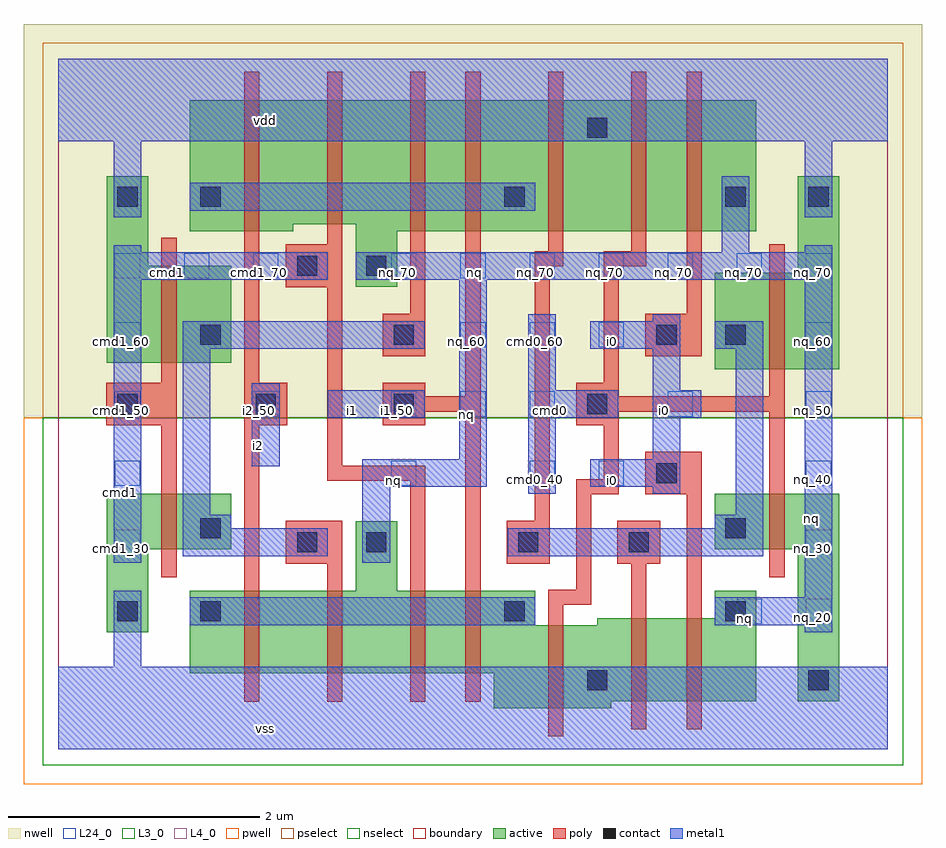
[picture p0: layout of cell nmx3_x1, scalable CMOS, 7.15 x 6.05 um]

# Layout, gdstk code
import gdstk
lib = gdstk.Library(unit=1e-6, precision=2.5e-09)
def R(c, l, rs):  # rectangles x0, y0, x1, y1
    for r in rs: c.add(gdstk.rectangle(r[:2], r[2:], *l))
def A(c, l, x, y, w, h, nx, ny, dx, dy):  # array of equal rectangles
    R(c, l, [(x+i*dx, y+j*dy, x+i*dx+w, y+j*dy+h) for i in range(nx) for j in range(ny)])
L3_0 = (3, 0)
L4_0 = (4, 0)
L24_0 = (24, 0)
contact = (25, 0)
pwell = (41, 0)
nwell = (42, 0)
active = (43, 0)
pselect = (44, 0)
nselect = (45, 0)
poly = (46, 0)
metal1 = (49, 0)
boundary = (63, 0)

nmx3_x1 = lib.new_cell('nmx3_x1')
R(nmx3_x1, L3_0, [(3.465,0.33,4.4,0.385), (3.465,0.385,5.555,0.605), (5.885,0.385,6.215,1.595), (1.045,0.605,5.555,0.99), (0.385,0.935,0.715,1.595), (1.045,0.99,3.795,1.265), (4.29,0.99,5.555,1.045), (5.225,1.045,5.555,1.265), (2.365,1.265,2.695,1.815), (0.385,1.595,1.375,2.035), (5.225,1.595,6.215,2.035)])
R(nmx3_x1, L4_0, [(5.225,3.025,6.215,3.795), (0.385,3.08,1.375,3.85), (2.365,3.685,2.695,4.125), (5.885,3.795,6.215,4.565), (0.385,3.85,0.715,4.565), (1.045,4.125,1.87,4.18), (2.365,4.125,5.555,4.18), (1.045,4.18,5.555,5.17)])
A(nmx3_x1, L24_0, 5.95, 1, 0.2, 0.2, 1, 3, 0, 0.55)
A(nmx3_x1, L24_0, 0.45, 2.65, 0.2, 0.2, 3, 1, 1.1, 0)
A(nmx3_x1, L24_0, 3.75, 2.65, 0.2, 0.2, 3, 1, 1.1, 0)
A(nmx3_x1, L24_0, 3.2, 3.2, 0.2, 0.2, 3, 1, 0.55, 0)
A(nmx3_x1, L24_0, 0.45, 3.75, 0.2, 0.2, 3, 1, 0.55, 0)
A(nmx3_x1, L24_0, 2.65, 3.75, 0.2, 0.2, 7, 1, 0.55, 0)
R(nmx3_x1, L24_0, [(5.4,1,5.6,1.2), (0.45,1.55,0.65,1.75), (0.45,2.1,0.65,2.3), (2.65,2.1,2.85,2.3), (3.75,2.1,3.95,2.3), (4.3,2.1,4.5,2.3), (3.2,2.65,3.4,2.85), (0.45,3.2,0.65,3.4), (5.95,3.2,6.15,3.4)])
A(nmx3_x1, contact, 4.21, 0.47, 0.16, 0.16, 1, 3, 0, 2.2)
A(nmx3_x1, contact, 0.47, 2.67, 0.16, 0.16, 3, 1, 1.1, 0)
R(nmx3_x1, contact, [(5.97,0.47,6.13,0.63), (0.47,1.02,0.63,1.18), (1.13,1.02,1.29,1.18), (3.55,1.02,3.71,1.18), (5.31,1.02,5.47,1.18), (1.9,1.57,2.06,1.73), (2.45,1.57,2.61,1.73), (3.66,1.57,3.82,1.73), (4.54,1.57,4.7,1.73), (1.13,1.68,1.29,1.84), (5.31,1.68,5.47,1.84), (4.76,2.12,4.92,2.28), (1.13,3.22,1.29,3.38), (2.67,3.22,2.83,3.38), (4.76,3.22,4.92,3.38), (5.31,3.22,5.47,3.38), (1.9,3.77,2.06,3.93), (2.45,3.77,2.61,3.93), (0.47,4.32,0.63,4.48), (1.13,4.32,1.29,4.48), (3.55,4.32,3.71,4.48), (5.31,4.32,5.47,4.48), (5.97,4.32,6.13,4.48)])
R(nmx3_x1, pwell, [(-0.275,-0.275,6.875,2.64)])
R(nmx3_x1, nwell, [(-0.275,2.64,6.875,5.775)])
R(nmx3_x1, active, [(3.465,0.33,4.4,0.385), (3.465,0.385,5.555,0.605), (5.885,0.385,6.215,1.595), (1.045,0.605,5.555,0.99), (0.385,0.935,0.715,1.595), (1.045,0.99,3.795,1.265), (4.29,0.99,5.555,1.045), (5.225,1.045,5.555,1.265), (2.365,1.265,2.695,1.815), (0.385,1.595,1.375,2.035), (5.225,1.595,6.215,2.035), (5.225,3.025,6.215,3.795), (0.385,3.08,1.375,3.85), (2.365,3.685,2.695,4.125), (5.885,3.795,6.215,4.565), (0.385,3.85,0.715,4.565), (1.045,4.125,1.87,4.18), (2.365,4.125,5.555,4.18), (1.045,4.18,5.555,5.17)])
R(nmx3_x1, pselect, [(-0.125,2.64,6.725,5.625)])
R(nmx3_x1, nselect, [(-0.125,-0.125,6.725,2.64)])
R(nmx3_x1, poly, [(3.9,0.105,4.02,1.15), (4.56,0.16,4.68,1.48), (5,0.16,5.12,2.03), (1.48,0.38,1.6,2.58), (2.14,0.38,2.26,1.48), (2.8,0.38,2.92,2.14), (3.24,0.38,3.36,2.69), (3.9,1.15,4.24,1.27), (4.12,1.27,4.24,2.03), (0.82,1.37,0.94,2.58), (5.66,1.37,5.78,2.69), (1.81,1.48,2.26,1.82), (3.57,1.48,3.91,1.82), (4.45,1.48,4.79,1.82), (3.79,1.82,3.91,3.845), (4.12,2.03,4.46,2.15), (4.67,2.03,5.12,2.37), (2.14,2.14,2.92,2.26), (4.34,2.15,4.46,2.58), (2.14,2.26,2.26,3.68), (0.38,2.58,0.94,2.92), (1.48,2.58,1.82,2.92), (2.58,2.58,2.92,2.69), (4.12,2.58,4.46,2.69), (2.58,2.69,3.36,2.81), (4.12,2.69,5.78,2.81), (2.58,2.81,2.92,2.92), (3.24,2.81,3.36,5.395), (4.12,2.81,4.46,2.92), (5.66,2.81,5.78,4.02), (0.82,2.92,0.94,4.075), (1.48,2.92,1.6,5.395), (4.34,2.92,4.46,3.845), (2.58,3.13,2.92,3.47), (4.67,3.13,5.12,3.47), (2.8,3.47,2.92,5.395), (5,3.47,5.12,5.395), (1.81,3.68,2.26,4.02), (3.79,3.845,4.02,3.965), (4.34,3.845,4.68,3.965), (3.9,3.965,4.02,5.395), (4.56,3.965,4.68,5.395), (2.14,4.02,2.26,5.395)])
R(nmx3_x1, metal1, [(0,0,6.6,0.66), (0.44,0.66,0.66,1.265), (5.94,0.935,6.16,0.99), (1.045,0.99,3.795,1.21), (5.225,0.99,6.16,1.21), (5.94,1.21,6.16,3.74), (0.44,1.485,0.66,3.74), (2.42,1.485,2.64,2.09), (0.99,1.54,2.145,1.76), (3.575,1.54,5.61,1.76), (0.99,1.76,1.375,1.87), (5.225,1.76,5.61,1.87), (0.99,1.87,1.21,3.19), (5.39,1.87,5.61,3.19), (3.74,2.035,3.96,2.64), (4.73,2.035,4.95,2.09), (2.42,2.09,3.41,2.31), (4.235,2.09,4.95,2.31), (1.54,2.255,1.76,2.915), (3.19,2.31,3.41,3.74), (4.73,2.31,4.95,2.64), (2.145,2.64,2.915,2.86), (3.74,2.64,4.455,2.86), (4.73,2.64,5.115,2.86), (3.74,2.86,3.96,3.465), (4.73,2.86,4.95,3.19), (0.99,3.19,2.915,3.41), (4.235,3.19,4.95,3.41), (5.225,3.19,5.61,3.41), (4.73,3.41,4.95,3.465), (0.44,3.74,2.145,3.96), (2.365,3.74,6.16,3.96), (0.44,3.96,0.66,4.015), (5.28,3.96,5.5,4.565), (5.94,3.96,6.16,4.015), (0.44,4.235,0.66,4.84), (5.94,4.235,6.16,4.84), (1.045,4.29,3.795,4.51), (0,4.84,6.6,5.5)])
R(nmx3_x1, boundary, [(0,0,6.6,5.5)])
nmx3_x1.add(gdstk.Label('vss', (1.65,0.165), layer=49, texttype=0))
nmx3_x1.add(gdstk.Label('nq', (5.4575,1.045), layer=49, texttype=0))
nmx3_x1.add(gdstk.Label('nq', (5.995,1.8425), layer=49, texttype=0))
nmx3_x1.add(gdstk.Label('i0', (4.4125,2.145), layer=49, texttype=0))
nmx3_x1.add(gdstk.Label('i0', (4.825,2.695), layer=49, texttype=0))
nmx3_x1.add(gdstk.Label('cmd0', (3.9175,2.695), layer=49, texttype=0))
nmx3_x1.add(gdstk.Label('i0', (4.4125,3.245), layer=49, texttype=0))
nmx3_x1.add(gdstk.Label('nq', (2.6675,2.145), layer=49, texttype=0))
nmx3_x1.add(gdstk.Label('nq', (3.245,2.6675), layer=49, texttype=0))
nmx3_x1.add(gdstk.Label('i1', (2.3375,2.695), layer=49, texttype=0))
nmx3_x1.add(gdstk.Label('i2', (1.595,2.42), layer=49, texttype=0))
nmx3_x1.add(gdstk.Label('cmd1', (0.495,2.0475), layer=49, texttype=0))
nmx3_x1.add(gdstk.Label('nq', (3.3125,3.795), layer=49, texttype=0))
nmx3_x1.add(gdstk.Label('cmd1', (0.865,3.795), layer=49, texttype=0))
nmx3_x1.add(gdstk.Label('vdd', (1.65,5.005), layer=49, texttype=0))
nmx3_x1.add(gdstk.Label('cmd1_70', (1.05,3.8), layer=24, texttype=0))
nmx3_x1.add(gdstk.Label('cmd1_70', (1.6,3.8), layer=24, texttype=0))
nmx3_x1.add(gdstk.Label('nq_40', (2.7,2.15), layer=24, texttype=0))
nmx3_x1.add(gdstk.Label('nq_50', (3.25,2.7), layer=24, texttype=0))
nmx3_x1.add(gdstk.Label('nq_60', (3.25,3.25), layer=24, texttype=0))
nmx3_x1.add(gdstk.Label('nq_70', (2.7,3.8), layer=24, texttype=0))
nmx3_x1.add(gdstk.Label('nq_70', (3.25,3.8), layer=24, texttype=0))
nmx3_x1.add(gdstk.Label('nq_70', (3.8,3.8), layer=24, texttype=0))
nmx3_x1.add(gdstk.Label('nq_70', (4.35,3.8), layer=24, texttype=0))
nmx3_x1.add(gdstk.Label('nq_70', (4.9,3.8), layer=24, texttype=0))
nmx3_x1.add(gdstk.Label('nq_70', (5.45,3.8), layer=24, texttype=0))
nmx3_x1.add(gdstk.Label('nq_20', (5.45,1.05), layer=24, texttype=0))
nmx3_x1.add(gdstk.Label('nq_20', (6,1.05), layer=24, texttype=0))
nmx3_x1.add(gdstk.Label('nq_60', (6,3.25), layer=24, texttype=0))
nmx3_x1.add(gdstk.Label('nq_50', (6,2.7), layer=24, texttype=0))
nmx3_x1.add(gdstk.Label('nq_40', (6,2.15), layer=24, texttype=0))
nmx3_x1.add(gdstk.Label('nq_30', (6,1.6), layer=24, texttype=0))
nmx3_x1.add(gdstk.Label('nq_70', (6,3.8), layer=24, texttype=0))
nmx3_x1.add(gdstk.Label('cmd1_30', (0.5,1.6), layer=24, texttype=0))
nmx3_x1.add(gdstk.Label('cmd1_40', (0.5,2.15), layer=24, texttype=0))
nmx3_x1.add(gdstk.Label('cmd1_50', (0.5,2.7), layer=24, texttype=0))
nmx3_x1.add(gdstk.Label('cmd1_60', (0.5,3.25), layer=24, texttype=0))
nmx3_x1.add(gdstk.Label('cmd1_70', (0.5,3.8), layer=24, texttype=0))
nmx3_x1.add(gdstk.Label('i2_50', (1.6,2.7), layer=24, texttype=0))
nmx3_x1.add(gdstk.Label('i1_50', (2.7,2.7), layer=24, texttype=0))
nmx3_x1.add(gdstk.Label('cmd0_40', (3.8,2.15), layer=24, texttype=0))
nmx3_x1.add(gdstk.Label('cmd0_50', (3.8,2.7), layer=24, texttype=0))
nmx3_x1.add(gdstk.Label('cmd0_60', (3.8,3.25), layer=24, texttype=0))
nmx3_x1.add(gdstk.Label('i0_40', (4.35,2.15), layer=24, texttype=0))
nmx3_x1.add(gdstk.Label('i0_60', (4.35,3.25), layer=24, texttype=0))
nmx3_x1.add(gdstk.Label('i0_50', (4.9,2.7), layer=24, texttype=0))

lib.write_gds('nmx3_x1.gds')
